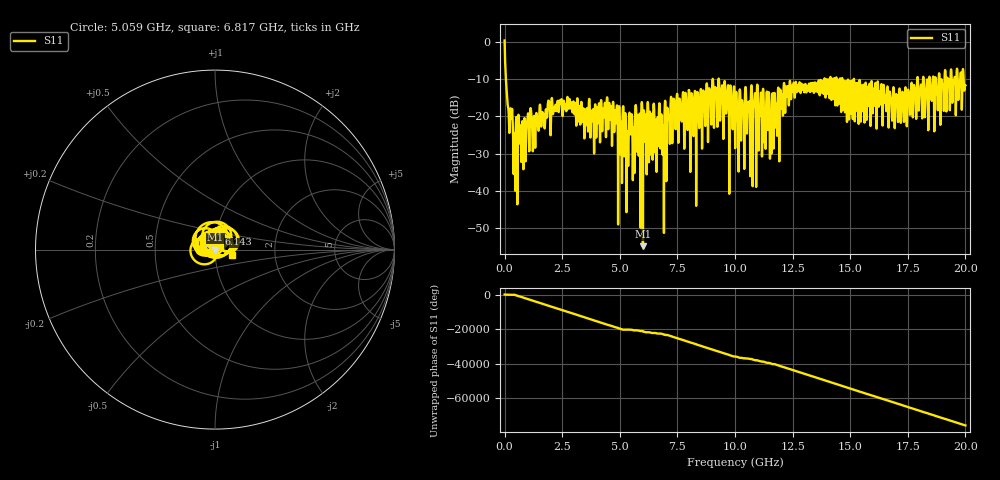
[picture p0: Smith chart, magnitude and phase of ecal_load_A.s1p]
! MS46122B
! 2250307/22442219
! 7/22/2025 7:41:47 AM
! C:\USERS\SPARKY\DOCUMENTS\VNA_DATA\JULY22_2025\3K\ECAL_LOAD_A.S1P
! CHANNEL.1
! TR.MEASUREMENT
! RAW.DATA
# GHZ S RI R 50.0
! FREQ.GHZ  S11RE  S11IM
!; PortSelection: Port_1
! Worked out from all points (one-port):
!   10001 points, 1 MHz to 20 GHz, reference 50 ohm
!   lowest |S11| = -54.9 dB at 6.005 GHz (marker M1), VSWR 1.00, Z = 50.2 - j0.1 ohm
!   |S11| at or under -10 dB: 57.33 MHz to 9.028 GHz (8.971 GHz wide, 197 % of centre); 9.3 GHz to 13.88 GHz (4.58 GHz wide, 39.5 % of centre); 15.16 GHz to 17.91 GHz (2.749 GHz wide, 16.6 % of centre) (the widest 3 of 25)
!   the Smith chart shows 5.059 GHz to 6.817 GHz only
!   S11 on the Smith chart (normalised r, x): 5.059 GHz: 0.84, -0.01; 6.143 GHz: 1.03, +0.18; 6.817 GHz: 1.20, -0.07
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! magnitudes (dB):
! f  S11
! 1 MHz  0.4
! 145 MHz  -17.3
! 469 MHz  -33.7
! 1.075 GHz  -28.5
! 1.269 GHz  -20.4
! 1.869 GHz  -17.3
! 2.501 GHz  -17.7
! 3.807 GHz  -21.1
! 4.527 GHz  -17.2
! 5.001 GHz  -20.7
! 5.059 GHz  -21.4
! 5.283 GHz  -33.3
! 5.453 GHz  -22.3
! 6.005 GHz  -54.9
! 6.143 GHz  -21.1
! 6.817 GHz  -20.1
! 7.293 GHz  -20.7
! 7.501 GHz  -14.4
! 8.389 GHz  -14.5
! 9.101 GHz  -18.3
! 10 GHz  -22.6
! 10.08 GHz  -17.1
! 10.9 GHz  -17.8
! 11.59 GHz  -20.4
! 12.5 GHz  -13.1
! 15 GHz  -11.1
! 17.5 GHz  -13.3
! 20 GHz  -11.7
